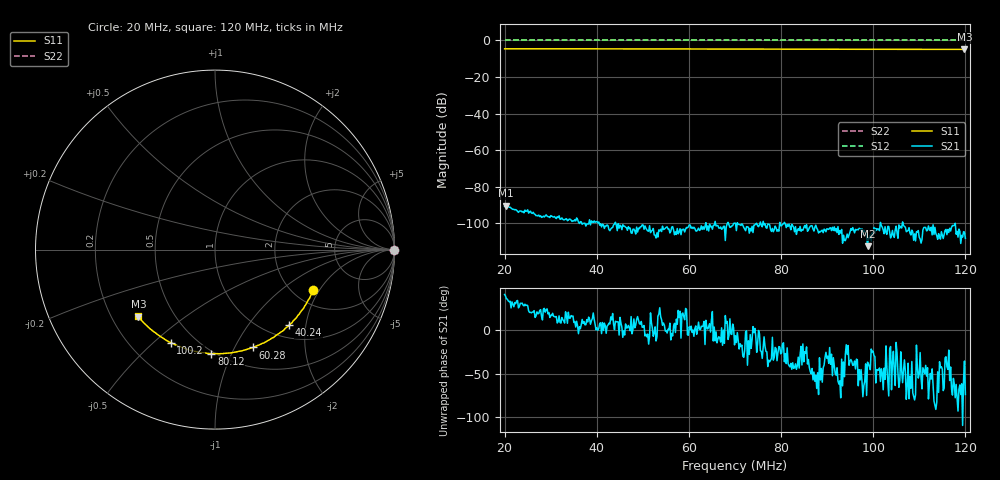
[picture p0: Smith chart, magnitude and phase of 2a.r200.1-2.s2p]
! Anritsu VNA Master:  Model: MS2036C/10/77
! SN:  1601066
! /bd0/18may26.balun/2a.r200.s2p
! Existing Calibration Information:
! TYPE:  Current Settings,  Active Cal Settings
! TIME:  05/26/2018 07:46:50 PM,  05/26/2018 07:26:54 PM
! INTERNAL TEMP:  45.3 C,  45.5 C
! # POINTS:  500,  500
! START FREQ:  20.000 MHz,  20.000 MHz
! STOP FREQ:  120.000 MHz,  120.000 MHz
! SOURCE POWER:  High,  High
! IFBW:  50 Hz,  50 Hz
! AVG FACTOR:  1 ,  1
! REF PLANE 1:  0 mm,  0 mm
! REF PLANE 2:  0 mm,  0 mm
! CAL TYPE:  Full S11,  Full S11
! CAL METHOD:  SOLT,  SOLT
! CAL LINE TYPE:  Coax,  Coax
! DUT PORT 1:  K-Conn(M),  K-Conn(M)
! DUT PORT 2:  K-Conn(M),  K-Conn(M)
! CAL STATUS:  OK: Accuracy High,  --
# GHZ S DB R 50.0
! FREQ.GHZ  S11DB  S11A  S21DB  S21A  S12DB  S12A  S22DB  S22A
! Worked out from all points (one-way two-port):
!   500 points, 20 MHz to 120 MHz, reference 50 ohm
!   highest |S21| = -90.32 dB at 20.2 MHz (marker M1); lowest = -112.4 dB at 98.76 MHz (marker M2)
!   lowest |S11| = -4.9 dB at 119.8 MHz (marker M3), VSWR 3.63, Z = 15.6 - j17.2 ohm
!   |S11| at or under -10 dB: nowhere
!   |S22| runs from 0.0 to 0.0 dB; largest |S21 - S12| = 1
!   S11 on the Smith chart (normalised r, x): 20 MHz: 2.53, -1.77; 40.24 MHz: 1.25, -1.61; 60.28 MHz: 0.72, -1.19; 80.12 MHz: 0.48, -0.84; 100.2 MHz: 0.37, -0.57; 120 MHz: 0.31, -0.34
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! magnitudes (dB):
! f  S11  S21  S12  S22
! 20 MHz  -4.6  -90.7  0.0  0.0
! 20.2 MHz  -4.6  -90.3  0.0  0.0
! 29.82 MHz  -4.6  -96.8  0.0  0.0
! 31.82 MHz  -4.6  -95.8  0.0  0.0
! 35.43 MHz  -4.6  -98.6  0.0  0.0
! 36.83 MHz  -4.6  -100.5  0.0  0.0
! 38.44 MHz  -4.6  -98.0  0.0  0.0
! 40.24 MHz  -4.6  -99.7  0.0  0.0
! 42.44 MHz  -4.6  -101.3  0.0  0.0
! 43.85 MHz  -4.6  -100.3  0.0  0.0
! 45.25 MHz  -4.6  -101.5  0.0  0.0
! 49.26 MHz  -4.6  -102.9  0.0  0.0
! 53.47 MHz  -4.6  -103.5  0.0  0.0
! 60.28 MHz  -4.7  -100.9  0.0  0.0
! 70.1 MHz  -4.7  -99.9  0.0  0.0
! 80.12 MHz  -4.7  -101.3  0.0  0.0
! 86.73 MHz  -4.8  -101.3  0.0  0.0
! 98.76 MHz  -4.8  -112.4  0.0  0.0
! 100.2 MHz  -4.8  -102.2  0.0  0.0
! 103.4 MHz  -4.8  -101.7  0.0  0.0
! 119.8 MHz  -4.9  -104.7  0.0  0.0
! 120 MHz  -4.9  -108.2  0.0  0.0
